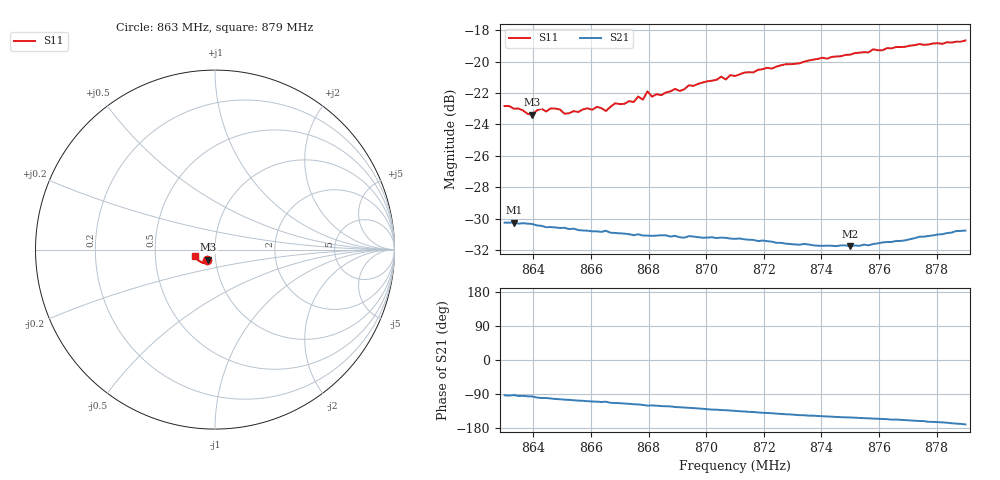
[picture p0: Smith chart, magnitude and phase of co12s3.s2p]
# HZ S RI R 50
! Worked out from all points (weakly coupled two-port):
!   101 points, 863 MHz to 879 MHz, reference 50 ohm
!   highest |S21| = -30.25 dB at 863.32 MHz (marker M1); lowest = -31.8 dB at 875 MHz (marker M2)
!   lowest |S11| = -23.4 dB at 863.96 MHz (marker M3), VSWR 1.15, Z = 46.1 - j5.27 ohm
!   |S11| at or under -10 dB: start of sweep to end of sweep
!   S12 and S22 are empty: the file has one direction only
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8.63e8  -0.0436 -0.0576  -0.00172 -0.0307  0 0  0 0
8.6332e8  -0.0432 -0.0561  -0.00139 -0.0307  0 0  0 0
8.6396e8  -0.037 -0.0568  -0.00322 -0.0302  0 0  0 0
8.6428e8  -0.0399 -0.0585  -0.00532 -0.0295  0 0  0 0
8.6492e8  -0.041 -0.0573  -0.00694 -0.0287  0 0  0 0
8.6508e8  -0.0368 -0.0575  -0.0075 -0.0286  0 0  0 0
8.6572e8  -0.0356 -0.0608  -0.00881 -0.0276  0 0  0 0
8.662e8  -0.037 -0.0615  -0.00981 -0.0271  0 0  0 0
8.6652e8  -0.036 -0.0596  -0.00994 -0.0272  0 0  0 0
8.6684e8  -0.0366 -0.064  -0.0113 -0.0261  0 0  0 0
8.6748e8  -0.0358 -0.0652  -0.0126 -0.025  0 0  0 0
8.6764e8  -0.038 -0.0675  -0.0129 -0.0251  0 0  0 0
8.678e8  -0.0377 -0.0656  -0.0134 -0.0245  0 0  0 0
8.6796e8  -0.0445 -0.067  -0.0141 -0.0241  0 0  0 0
8.6812e8  -0.0382 -0.0673  -0.0139 -0.0241  0 0  0 0
8.6844e8  -0.0384 -0.0681  -0.0147 -0.0238  0 0  0 0
8.7052e8  -0.0501 -0.0742  -0.0185 -0.0204  0 0  0 0
8.71e8  -0.052 -0.0735  -0.019 -0.0195  0 0  0 0
8.7372e8  -0.0705 -0.073  -0.0218 -0.0142  0 0  0 0
8.75e8  -0.0812 -0.067  -0.0227 -0.0123  0 0  0 0
8.7644e8  -0.0936 -0.0583  -0.0246 -0.0102  0 0  0 0
8.79e8  -0.1113 -0.0354  -0.0285 -0.00502  0 0  0 0
